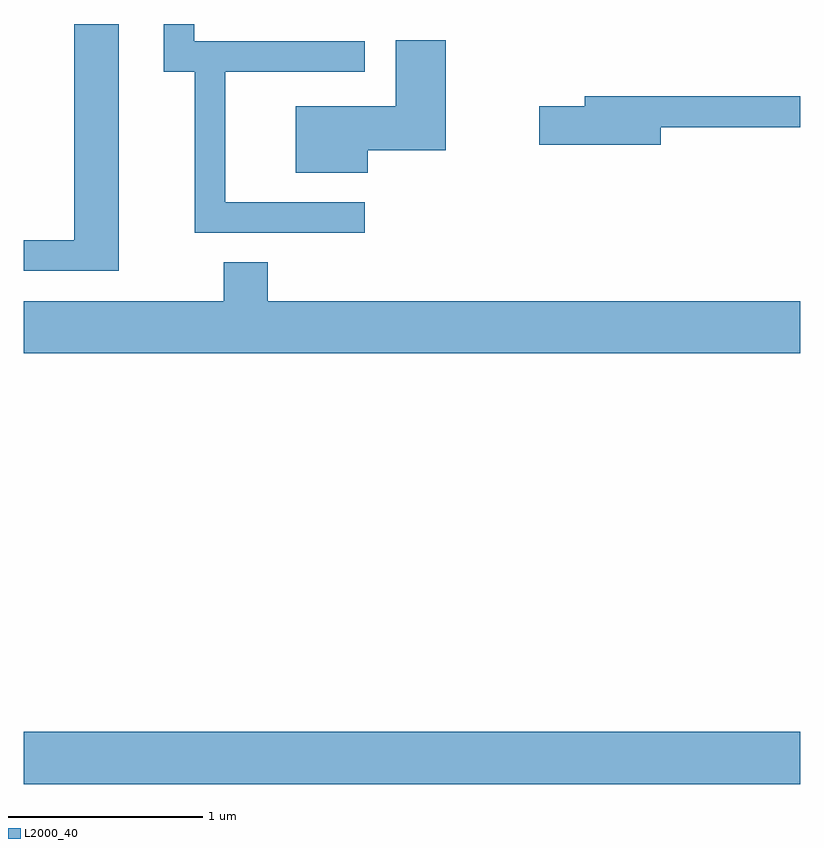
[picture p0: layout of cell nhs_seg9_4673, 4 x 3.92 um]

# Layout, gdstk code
import gdstk
lib = gdstk.Library(unit=1e-6, precision=1e-09)
def R(c, l, rs):  # rectangles x0, y0, x1, y1
    for r in rs: c.add(gdstk.rectangle(r[:2], r[2:], *l))
def P(c, l, *ps):  # polygons
    for p in ps: c.add(gdstk.Polygon(p, *l))
L2000_40 = (2000, 40)

nhs_seg9_4673 = lib.new_cell('nhs_seg9_4673')
R(nhs_seg9_4673, L2000_40, [(323.611,1958.516,327.611,1958.784)])
P(nhs_seg9_4673, L2000_40, [(324.099,1962.432),(323.871,1962.432),(323.871,1961.319),(323.611,1961.319),(323.611,1961.161),(324.099,1961.161)],
  [(325.368,1961.514),(324.649,1961.514),(324.649,1962.186),(325.368,1962.186),(325.368,1962.344),(324.489,1962.344),(324.489,1962.432),(324.331,1962.432),(324.331,1962.186),(324.491,1962.186),(324.491,1961.356),(325.368,1961.356)],
  [(325.384,1961.781),(325.784,1961.781),(325.784,1962.349),(325.526,1962.349),(325.526,1962.009),(325.011,1962.009),(325.011,1961.666),(325.384,1961.666)],
  [(326.894,1961.901),(327.611,1961.901),(327.611,1962.059),(326.501,1962.059),(326.501,1962.009),(326.266,1962.009),(326.266,1961.811),(326.894,1961.811)],
  [(327.611,1961.004),(324.869,1961.004),(324.869,1961.204),(324.641,1961.204),(324.641,1961.004),(323.611,1961.004),(323.611,1960.736),(327.611,1960.736)])

lib.write_gds('nhs_seg9_4673.gds')
